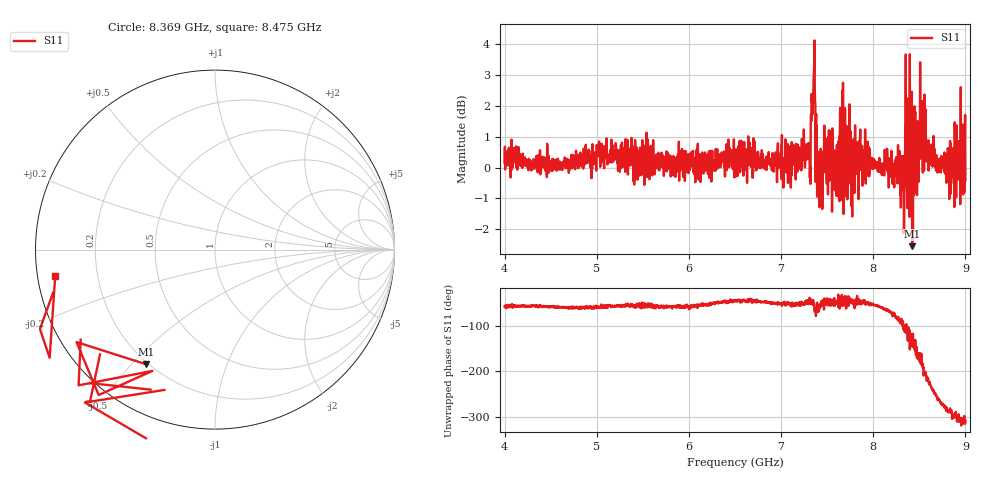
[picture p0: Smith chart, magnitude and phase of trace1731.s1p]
! Created with skrf 1.8.0 (http://scikit-rf.org).
# Hz S RI R 50.0
!freq ReS11 ImS11
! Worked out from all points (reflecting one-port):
!   1601 points, 4 GHz to 9 GHz, reference 50 ohm
!   lowest |S11| = -2.6 dB at 8.422 GHz (marker M1), VSWR 6.85, Z = 9.57 - j27.5 ohm
!   phase of S11 starts at -58 deg and turns -249 deg over the sweep
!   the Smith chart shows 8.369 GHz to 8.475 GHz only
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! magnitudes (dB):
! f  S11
! 4 GHz  0.2
! 4.625 GHz  -0.1
! 5.25 GHz  -0.1
! 5.875 GHz  0.0
! 6.5 GHz  0.4
! 7.125 GHz  0.2
! 7.294 GHz  0.7
! 7.325 GHz  1.7
! 7.347 GHz  2.1
! 7.369 GHz  2.1
! 7.4 GHz  -0.5
! 7.425 GHz  0.0
! 7.478 GHz  0.3
! 7.609 GHz  -0.6
! 7.65 GHz  1.3
! 7.75 GHz  -0.5
! 7.844 GHz  0.7
! 8.262 GHz  -0.5
! 8.316 GHz  0.2
! 8.334 GHz  -2.1
! 8.375 GHz  0.2
! 8.422 GHz  -2.6
! 8.447 GHz  2.0
! 8.522 GHz  1.7
! 8.606 GHz  0.1
! 8.803 GHz  -0.4
! 8.972 GHz  0.4
! 9 GHz  -0.4
